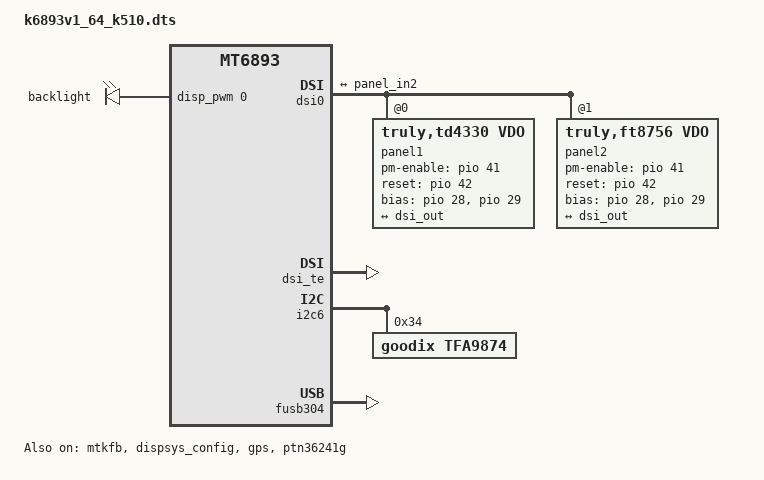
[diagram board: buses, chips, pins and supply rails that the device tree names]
// SPDX-License-Identifier: (GPL-2.0 OR MIT)
/*
 * Copyright (C) 2020 MediaTek Inc.
 * Author: Chun-Hung Wu <chun-hung.wu@mediatek.com>
 */
/dts-v1/;
/plugin/;
#include <dt-bindings/interrupt-controller/arm-gic.h>
#include <dt-bindings/interrupt-controller/irq.h>
#include <dt-bindings/pinctrl/mt6885-pinfunc.h>
#include <dt-bindings/clock/mt6893-clk.h>

&gpio_usage_mapping {
	GPIO_SIM1_HOT_PLUG = <&pio 43 0>;
	GPIO_SIM2_SCLK = <&pio 45 0>;
	GPIO_SIM2_SRST = <&pio 46 0>;
	GPIO_SIM2_SIO = <&pio 47 0>;
	GPIO_SIM1_SIO = <&pio 48 0>;
	GPIO_SIM1_SRST = <&pio 49 0>;
	GPIO_SIM1_SCLK = <&pio 50 0>;
	GPIO_FDD_BAND_SUPPORT_DETECT_1ST_PIN = <&pio 63 0>;
	GPIO_FDD_BAND_SUPPORT_DETECT_2ND_PIN = <&pio 64 0>;
	GPIO_FDD_BAND_SUPPORT_DETECT_3RD_PIN = <&pio 65 0>;
	GPIO_FDD_BAND_SUPPORT_DETECT_4TH_PIN = <&pio 66 0>;
};

&mtk_leds {
	compatible = "mediatek,pwm-leds";

	backlight {
		pwms = <&disp_pwm 0 39385>;
		pwm-names = "lcd-backlight";
	};
};

&gpio{
	gpio_init_default = <0 0 0 0 1 1 1>,
		<1 0 0 0 1 0 1>,
		<2 0 0 0 1 0 1>,
		<3 0 0 0 1 0 1>,
		<4 0 0 0 1 1 1>,
		<5 0 1 0 1 0 1>,
		<6 0 1 0 1 0 1>,
		<7 0 1 0 1 0 1>,
		<8 0 1 0 1 0 1>,
		<9 0 1 0 1 0 1>,
		<10 0 1 0 1 0 0>,
		<11 0 0 0 1 0 0>,
		<12 0 0 0 1 1 0>,
		<13 0 0 0 1 0 0>,
		<14 0 1 0 1 0 0>,
		<15 0 0 0 1 0 0>,
		<16 6 0 0 1 0 1>,
		<17 6 0 0 0 0 1>,
		<18 1 0 0 1 0 1>,
		<19 0 0 0 1 0 1>,
		<20 0 1 0 1 0 1>,
		<21 0 0 0 1 1 1>,
		<22 0 0 0 1 0 1>,
		<23 0 0 0 1 1 1>,
		<24 0 0 0 1 1 1>,
		<25 0 0 0 1 1 1>,
		<26 0 1 0 1 0 1>,
		<27 0 1 1 1 0 1>,
		<28 0 1 0 1 0 1>,
		<29 0 1 0 1 0 1>,
		<30 0 1 0 1 0 1>,
		<31 0 0 0 1 1 1>,
		<32 1 0 0 0 0 1>,
		<33 1 0 0 0 0 1>,
		<34 1 0 0 1 0 1>,
		<35 1 0 0 0 0 1>,
		<36 4 0 0 1 1 0>,
		<37 4 0 0 0 0 0>,
		<38 4 0 0 1 1 0>,
		<39 4 0 0 0 0 0>,
		<40 1 0 0 0 0 1>,
		<41 1 0 0 1 0 1>,
		<42 1 0 0 0 0 0>,
		<43 1 0 0 1 1 1>,
		<44 0 0 0 1 0 1>,
		<45 1 0 0 0 0 1>,
		<46 1 0 0 0 0 1>,
		<47 1 0 0 1 1 1>,
		<48 1 0 0 1 1 1>,
		<49 1 0 0 0 0 1>,
		<50 1 0 0 0 0 1>,
		<51 1 0 0 0 0 1>,
		<52 1 0 0 1 1 1>,
		<53 1 0 0 1 1 1>,
		<54 1 0 0 1 1 1>,
		<55 1 0 0 1 1 1>,
		<56 1 0 0 1 1 1>,
		<57 1 0 0 0 0 0>,
		<58 1 0 0 1 0 0>,
		<59 1 0 0 1 0 1>,
		<60 1 0 0 1 0 1>,
		<61 1 0 0 1 0 1>,
		<62 1 0 0 1 0 1>,
		<63 0 0 0 1 0 0>,
		<64 0 0 0 1 0 0>,
		<65 0 0 0 1 0 0>,
		<66 0 0 0 1 0 0>,
		<67 1 0 0 0 0 0>,
		<68 1 0 0 0 0 0>,
		<69 1 0 0 0 0 0>,
		<70 1 0 0 0 0 0>,
		<71 1 0 0 0 0 0>,
		<72 1 0 0 0 0 0>,
		<73 1 0 0 0 0 0>,
		<74 1 0 0 0 0 0>,
		<75 1 0 0 0 0 0>,
		<76 1 0 0 0 0 0>,
		<77 1 0 0 0 0 0>,
		<78 1 0 0 0 0 0>,
		<79 1 0 0 0 0 0>,
		<80 1 0 0 0 0 0>,
		<81 1 0 0 0 0 0>,
		<82 1 0 0 0 0 0>,
		<83 1 0 0 0 0 0>,
		<84 1 0 0 0 0 0>,
		<85 1 0 0 0 0 0>,
		<86 1 0 0 1 0 0>,
		<87 1 0 0 0 0 0>,
		<88 1 0 0 1 0 0>,
		<89 1 0 0 0 0 1>,
		<90 1 0 0 0 0 1>,
		<92 1 0 0 1 1 0>,
		<93 1 0 0 0 0 0>,
		<94 1 0 0 1 1 0>,
		<95 1 0 0 0 0 0>,
		<96 7 0 0 1 0 0>,
		<97 7 0 0 1 0 0>,
		<98 7 0 0 1 0 0>,
		<99 7 0 0 0 0 0>,
		<100 7 0 0 1 0 0>,
		<101 7 0 0 1 0 0>,
		<102 7 0 0 1 0 0>,
		<103 7 0 0 0 0 0>,
		<104 7 0 0 1 0 0>,
		<105 7 0 0 1 0 0>,
		<106 7 0 0 1 0 0>,
		<107 7 0 0 1 0 0>,
		<108 7 0 0 1 0 0>,
		<109 7 0 0 1 0 0>,
		<110 0 1 0 1 0 0>,
		<111 0 1 0 1 0 0>,
		<112 0 1 0 1 0 0>,
		<113 0 1 0 1 0 0>,
		<114 2 0 0 1 0 0>,
		<115 2 0 0 0 0 0>,
		<116 2 0 0 0 0 0>,
		<117 2 0 0 0 0 0>,
		<118 2 0 0 1 1 1>,
		<119 2 0 0 1 1 1>,
		<120 1 0 0 1 1 1>,
		<121 1 0 0 1 1 1>,
		<122 1 0 0 1 1 1>,
		<123 1 0 0 1 1 1>,
		<124 1 0 0 1 1 1>,
		<125 1 0 0 1 1 1>,
		<126 4 0 0 1 0 0>,
		<127 4 0 0 1 0 0>,
		<128 0 1 0 1 0 0>,
		<129 0 1 0 1 0 0>,
		<130 1 0 0 1 0 0>,
		<131 1 0 0 0 0 0>,
		<132 1 0 0 1 0 0>,
		<133 0 1 0 1 0 0>,
		<134 0 1 0 1 0 0>,
		<135 0 1 0 1 0 0>,
		<136 1 0 0 0 0 0>,
		<137 0 1 0 1 0 0>,
		<138 0 1 0 1 0 0>,
		<139 1 0 0 1 1 1>,
		<140 1 0 0 1 1 1>,
		<141 1 0 0 1 1 1>,
		<142 1 0 0 1 1 1>,
		<143 0 1 0 1 0 0>,
		<144 0 1 0 1 0 0>,
		<145 0 1 0 1 0 0>,
		<146 0 1 0 1 0 0>,
		<147 0 1 0 1 0 0>,
		<148 0 1 0 1 0 0>,
		<149 1 0 0 0 0 0>,
		<150 1 0 0 0 0 0>,
		<151 1 0 0 0 0 0>,
		<152 0 0 0 1 0 0>,
		<153 1 0 0 1 0 0>,
		<154 1 0 0 1 1 0>,
		<155 0 0 0 0 0 0>,
		<156 1 0 0 0 0 0>,
		<157 1 0 0 0 0 0>,
		<158 1 0 0 1 0 0>,
		<159 1 0 0 0 0 0>,
		<160 1 0 0 1 1 1>,
		<161 1 0 0 1 1 1>,
		<162 0 0 0 1 0 0>,
		<163 0 0 0 1 0 0>,
		<164 0 0 0 1 0 0>,
		<165 1 0 0 1 0 0>,
		<166 1 0 0 1 0 0>,
		<167 0 0 0 1 0 0>,
		<168 6 0 0 1 0 0>,
		<169 6 0 0 1 0 0>,
		<170 0 1 0 1 0 0>,
		<171 0 1 0 1 0 0>,
		<172 0 0 0 1 0 0>,
		<173 0 0 0 1 0 0>,
		<174 0 0 0 1 0 0>,
		<175 0 0 0 1 0 0>,
		<176 0 0 0 1 0 0>,
		<177 0 0 0 1 0 0>,
		<178 0 0 0 1 0 0>,
		<179 0 0 0 1 0 0>,
		<180 0 0 0 1 0 0>,
		<181 0 0 0 1 0 0>,
		<182 0 0 0 1 0 0>,
		<195 1 0 0 0 0 1>,
		<196 1 0 0 0 0 1>,
		<197 1 0 0 0 0 1>,
		<198 1 0 0 0 0 1>,
		<199 1 0 0 1 0 1>,
		<200 1 0 0 1 1 1>,
		<201 1 0 0 1 1 1>,
		<202 1 0 0 1 1 1>,
		<203 1 0 0 1 1 1>,
		<204 6 0 0 1 0 1>,
		<205 6 0 0 1 0 1>,
		<206 1 0 0 0 0 1>,
		<207 1 0 0 0 0 1>,
		<208 1 0 0 0 0 0>,
		<209 1 0 0 1 0 0>,
		<210 1 0 0 0 0 0>,
		<211 1 0 0 1 0 0>,
		<212 1 0 0 0 0 0>,
		<213 1 0 0 1 0 1>,
		<214 1 0 0 0 0 1>,
		<215 1 0 0 0 0 1>,
		<216 1 0 0 0 0 1>,
		<217 1 0 0 0 0 1>,
		<218 1 0 0 1 0 1>,
		<219 1 0 0 1 0 1>,
		<220 0 0 0 1 0 0>,
		<221 0 0 0 1 0 0>,
		<222 0 0 0 1 0 0>,
		<223 0 0 0 1 0 0>,
		<224 0 0 0 1 0 0>,
		<225 0 0 0 1 0 0>,
		<226 0 0 0 1 0 0>,
		<227 0 0 0 1 0 0>;
};

#include "mediatek/cust_mt6893_touch_1080x2300.dtsi"

&chosen {
	atag,videolfb-fb_base_l = <0x7e605000>;
	atag,videolfb-fb_base_h = <0x0>;
	atag,videolfb-islcmfound = <1>;
	atag,videolfb-islcm_inited = <0>;
	atag,videolfb-fps= <6000>;
	atag,videolfb-vramSize= <0x1be0000>;
	atag,videolfb-lcmname=
		"td4330_fhdp_dsi_vdo_auo_rt5081_drv";
};

&pio {
	mtkfb_pins_lcd_bias_enp1: lcd_bias_enp1_gpio {
		pins_cmd_dat {
			pinmux = <PINMUX_GPIO28__FUNC_GPIO28>;
			slew-rate = <1>;
			output-high;
		};
	};

	mtkfb_pins_lcd_bias_enp0: lcd_bias_enp0_gpio {
		pins_cmd_dat {
			pinmux = <PINMUX_GPIO28__FUNC_GPIO28>;
			slew-rate = <1>;
			output-low;
		};
	};

	mtkfb_pins_lcd_bias_enn1: lcd_bias_enn1_gpio {
		pins_cmd_dat {
			pinmux = <PINMUX_GPIO29__FUNC_GPIO29>;
			slew-rate = <1>;
			output-high;
		};
	};

	mtkfb_pins_lcd_bias_enn0: lcd_bias_enn0_gpio {
		pins_cmd_dat {
			pinmux = <PINMUX_GPIO29__FUNC_GPIO29>;
			slew-rate = <1>;
			output-low;
		};
	};

	mtkfb_pins_lcm_rst_out1_gpio: lcm_rst_out1_gpio {
		pins_cmd_dat {
			pinmux = <PINMUX_GPIO42__FUNC_GPIO42>;
			slew-rate = <1>;
			output-high;
		};
	};

	mtkfb_pins_lcm_rst_out0_gpio: lcm_rst_out0_gpio {
		pins_cmd_dat {
			pinmux = <PINMUX_GPIO42__FUNC_GPIO42>;
			slew-rate = <1>;
			output-low;
		};
	};
	mtkfb_pins_lcm_dsi_te: lcm_dsi_te {
		pins_cmd_dat {
			pinmux = <PINMUX_GPIO41__FUNC_DSI_TE>;
		};
	};
};

&mtkfb {
	pinctrl-names = "lcd_bias_enp1_gpio", "lcd_bias_enp0_gpio",
			"lcd_bias_enn1_gpio", "lcd_bias_enn0_gpio",
			"lcm_rst_out1_gpio", "lcm_rst_out0_gpio",
			"mode_te_te";
	pinctrl-0 = <&mtkfb_pins_lcd_bias_enp1>;
	pinctrl-1 = <&mtkfb_pins_lcd_bias_enp0>;
	pinctrl-2 = <&mtkfb_pins_lcd_bias_enn1>;
	pinctrl-3 = <&mtkfb_pins_lcd_bias_enn0>;
	pinctrl-4 = <&mtkfb_pins_lcm_rst_out1_gpio>;
	pinctrl-5 = <&mtkfb_pins_lcm_rst_out0_gpio>;
	pinctrl-6 = <&mtkfb_pins_lcm_dsi_te>;
	status = "okay";
};

&dispsys_config {
	pinctrl-names =
			"lcm_rst_out1_gpio", "lcm_rst_out0_gpio",
			"mode_te_te";
	pinctrl-0 = <&mtkfb_pins_lcm_rst_out1_gpio>;
	pinctrl-1 = <&mtkfb_pins_lcm_rst_out0_gpio>;
	pinctrl-2 = <&mtkfb_pins_lcm_dsi_te>;
	status = "okay";
};

&dsi0 {
	status = "okay";
	#address-cells = <1>;
	#size-cells = <0>;
	panel1@0 {
		compatible = "truly,td4330,vdo";
		reg = <0>;
		pm-enable-gpios = <&pio 41 0>;
		reset-gpios = <&pio 42 0>;
		bias-gpios = <&pio 28 0>,
			<&pio 29 0>;
		pinctrl-names = "default";
		port {
			panel_in1: endpoint {
				remote-endpoint = <&dsi_out>;
			};
		};
	};
	panel2@0 {
		compatible = "truly,ft8756,vdo";
		reg = <1>;
		pm-enable-gpios = <&pio 41 0>;
		reset-gpios = <&pio 42 0>;
		bias-gpios = <&pio 28 0>,
			<&pio 29 0>;
		pinctrl-names = "default";
		port {
			panel_in2: endpoint {
				remote-endpoint = <&dsi_out>;
			};
		};
	};
	ports {
		port {
			dsi_out: endpoint {
				remote-endpoint = <&panel_in2>;
			};
		};
	};
};

&dsi_te {
	interrupt-parent = <&pio>;
	interrupts = <41 1 41 1>;
	status = "okay";
};

&i2c6 {
	tfa9874: tfa9874@34 {
		compatible = "goodix,tfa9874";
		#sound-dai-cells = <0>;
		reg = <0x34>;
		status = "okay";
	};
};

&sound {
	mediatek,speaker-codec {
		sound-dai = <&tfa9874>;
	};
};

#include "mediatek/cust_mt6893_camera.dtsi"
/*End of this file, DO NOT ADD ANYTHING HERE*/

/* GPS GPIO standardization start */
&pio {
	gps_pins_default: gps_default {
	};
	gps_l1_lna_pins_ol: gps_l1_lna@0 {
		pins_cmd_dat {
			pinmux = <PINMUX_GPIO162__FUNC_GPIO162>;
			output-low;
		};
	};
	gps_l1_lna_pins_dsp_ctrl: gps_l1_lna@1 {
		pins_cmd_dat {
			pinmux = <PINMUX_GPIO162__FUNC_GPS_L1_ELNA_EN>;
		};
	};
	gps_l1_lna_pins_oh: gps_l1_lna@2 {
		pins_cmd_dat {
			pinmux = <PINMUX_GPIO162__FUNC_GPIO162>;
			output-high;
		};
	};
	gps_l5_lna_pins_ol: gps_l5_lna@0 {
		pins_cmd_dat {
			pinmux = <PINMUX_GPIO163__FUNC_GPIO163>;
			output-low;
		};
	};
	gps_l5_lna_pins_dsp_ctrl: gps_l5_lna@1 {
		pins_cmd_dat {
			pinmux = <PINMUX_GPIO163__FUNC_GPS_L5_ELNA_EN>;
		};
	};
	gps_l5_lna_pins_oh: gps_l5_lna@2 {
		pins_cmd_dat {
			pinmux = <PINMUX_GPIO163__FUNC_GPIO163>;
			output-high;
		};
	};
};
&gps {
	pinctrl-names = "default",
		"gps_l1_lna_disable",
		"gps_l1_lna_dsp_ctrl",
		"gps_l1_lna_enable",
		"gps_l5_lna_disable",
		"gps_l5_lna_dsp_ctrl",
		"gps_l5_lna_enable";
	pinctrl-0 = <&gps_pins_default>;
	pinctrl-1 = <&gps_l1_lna_pins_ol>;
	pinctrl-2 = <&gps_l1_lna_pins_dsp_ctrl>;
	pinctrl-3 = <&gps_l1_lna_pins_oh>;
	pinctrl-4 = <&gps_l5_lna_pins_ol>;
	pinctrl-5 = <&gps_l5_lna_pins_dsp_ctrl>;
	pinctrl-6 = <&gps_l5_lna_pins_oh>;
	status = "okay";
};
/* GPS GPIO standardization end */

&pdc {
	pd_vbus_upper_bound = <12000000>;
};

/* usb typec mux */
&pio {
	c1_active: c1_high {
		pins_cmd_dat {
			pinmux = <PINMUX_GPIO113__FUNC_GPIO113>;
			output-high;
		};
	};

	c2_active: c2_highz {
		pins_cmd_dat {
			pinmux = <PINMUX_GPIO112__FUNC_GPIO112>;
			input-enable;
			bias-disable;
		};
	};

	c1_sleep: c1_low {
		pins_cmd_dat {
			pinmux = <PINMUX_GPIO113__FUNC_GPIO113>;
			output-low;
		};
	};

	c2_sleep: c2_low {
		pins_cmd_dat {
			pinmux = <PINMUX_GPIO112__FUNC_GPIO112>;
			output-low;
		};
	};

	sel_up: sel_high {
		pins_cmd_dat {
			pinmux = <PINMUX_GPIO111__FUNC_GPIO111>;
			output-high;
		};
	};

	sel_down: sel_low {
		pins_cmd_dat {
			pinmux = <PINMUX_GPIO111__FUNC_GPIO111>;
			output-low;
		};
	};

	sw_enable: sw_enable {
		pins_cmd_dat {
			pinmux = <PINMUX_GPIO110__FUNC_GPIO110>;
			output-low;
		};
	};

	sw_disable: sw_disable {
		pins_cmd_dat {
			pinmux = <PINMUX_GPIO110__FUNC_GPIO110>;
			output-low;
		};
	};
};

&ptn36241g {
	pinctrl-names = "c1_active", "c1_sleep",
		"c2_active", "c2_sleep";
	pinctrl-0 = <&c1_active>;
	pinctrl-1 = <&c1_sleep>;
	pinctrl-2 = <&c2_active>;
	pinctrl-3 = <&c2_sleep>;
	status = "okay";
};

&fusb304 {
	pinctrl-names = "sel_up", "sel_down",
		"enable", "disable";
	pinctrl-0 = <&sel_up>;
	pinctrl-1 = <&sel_down>;
	pinctrl-2 = <&sw_enable>;
	pinctrl-3 = <&sw_disable>;
	status = "okay";
};
/* CONSYS end */
